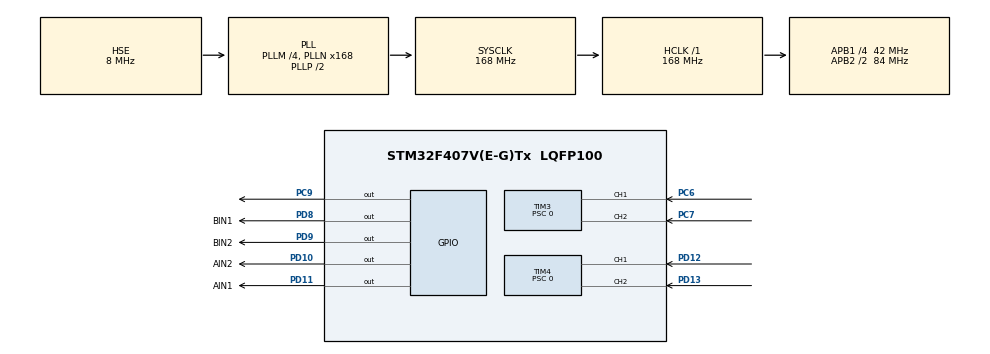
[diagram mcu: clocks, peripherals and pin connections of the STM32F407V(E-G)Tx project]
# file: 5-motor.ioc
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Mcu.Family=STM32F4
Mcu.Name=STM32F407V(E-G)Tx
Mcu.Package=LQFP100
NVIC.PriorityGroup=NVIC_PRIORITYGROUP_4
NVIC.TIM2_IRQn=true\:4\:0\:false\:false\:true\:true\:true\:true
NVIC.TIM6_DAC_IRQn=true\:5\:0\:false\:false\:true\:true\:true\:true
PA13.Mode=Serial_Wire
PA13.Signal=SYS_JTMS-SWDIO
PA14.Mode=Serial_Wire
PA14.Signal=SYS_JTCK-SWCLK
PC6.GPIO_PuPd=GPIO_PULLUP
PC6.Signal=S_TIM3_CH1
PC7.GPIO_PuPd=GPIO_PULLUP
PC7.Signal=S_TIM3_CH2
PC9.GPIO_PuPd=GPIO_NOPULL
PC9.Signal=GPIO_Output
PD10.GPIO_Label=AIN2
PD10.GPIO_PuPd=GPIO_PULLDOWN
PD10.GPIO_Speed=GPIO_SPEED_FREQ_MEDIUM
PD10.Signal=GPIO_Output
PD11.GPIO_Label=AIN1
PD11.GPIO_PuPd=GPIO_PULLDOWN
PD11.GPIO_Speed=GPIO_SPEED_FREQ_MEDIUM
PD11.Signal=GPIO_Output
PD12.GPIO_PuPd=GPIO_PULLUP
PD12.Signal=S_TIM4_CH1
PD13.GPIO_PuPd=GPIO_PULLUP
PD13.Signal=S_TIM4_CH2
PD8.GPIO_Label=BIN1
PD8.GPIO_PuPd=GPIO_PULLDOWN
PD8.GPIO_Speed=GPIO_SPEED_FREQ_MEDIUM
PD8.Signal=GPIO_Output
PD9.GPIO_Label=BIN2
PD9.GPIO_PuPd=GPIO_PULLDOWN
PD9.GPIO_Speed=GPIO_SPEED_FREQ_MEDIUM
PD9.Signal=GPIO_Output
PH0-OSC_IN.Mode=HSE-External-Oscillator
PH0-OSC_IN.Signal=RCC_OSC_IN
PH1-OSC_OUT.Mode=HSE-External-Oscillator
PH1-OSC_OUT.Signal=RCC_OSC_OUT
ProjectManager.HeapSize=0x200
ProjectManager.StackSize=0x400
ProjectManager.TargetToolchain=MDK-ARM V5.32
RCC.48MHZClocksFreq_Value=48000000
RCC.AHBFreq_Value=168000000
RCC.APB1CLKDivider=RCC_HCLK_DIV4
RCC.APB1Freq_Value=42000000
RCC.APB1TimFreq_Value=84000000
RCC.APB2CLKDivider=RCC_HCLK_DIV2
RCC.APB2Freq_Value=84000000
RCC.APB2TimFreq_Value=168000000
RCC.CortexFreq_Value=168000000
RCC.HCLKFreq_Value=168000000
RCC.HSE_VALUE=8000000
RCC.HSI_VALUE=16000000
RCC.LSE_VALUE=32768
RCC.PLLM=4
RCC.PLLN=168
RCC.PLLQ=7
RCC.PLLSourceVirtual=RCC_PLLSOURCE_HSE
RCC.RTCHSEDivValue=8
RCC.SYSCLKFreq_VALUE=168000000
RCC.SYSCLKSource=RCC_SYSCLKSOURCE_PLLCLK
RCC.VCOOutputFreq_Value=336000000
SH.S_TIM3_CH1.0=TIM3_CH1,Encoder_Interface
SH.S_TIM3_CH2.0=TIM3_CH2,Encoder_Interface
SH.S_TIM4_CH1.0=TIM4_CH1,Encoder_Interface
SH.S_TIM4_CH2.0=TIM4_CH2,Encoder_Interface
TIM2.Period=83999
TIM2.Prescaler=0
TIM3.EncoderMode=TIM_ENCODERMODE_TI12
TIM3.IC1Filter=6
TIM3.IC2Filter=6
TIM3.Period=65535
TIM3.Prescaler=0
TIM4.EncoderMode=TIM_ENCODERMODE_TI12
TIM4.IC1Filter=6
TIM4.IC2Filter=6
TIM4.Period=65535
TIM4.Prescaler=0
TIM5.Period=4294967295
TIM5.Prescaler=83
TIM6.Period=9999
TIM6.Prescaler=83
VP_TIM2_VS_ClockSourceINT.Mode=Internal
VP_TIM5_VS_ClockSourceINT.Mode=Internal
VP_TIM6_VS_ClockSourceINT.Mode=Enable_Timer
board=custom

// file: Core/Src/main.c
/* USER CODE BEGIN Header */
/**
  ******************************************************************************
  * @file           : main.c
  * @brief          : DRV8848 双电机编码器速度闭环示例
  ******************************************************************************
  * @attention
  *
  * Copyright (c) 2026 STMicroelectronics.
  * All rights reserved.
  *
  * This software is licensed under terms that can be found in the LICENSE file
  * in the root directory of this software component.
  * If no LICENSE file comes with this software, it is provided AS-IS.
  *
  ******************************************************************************
  */
/* USER CODE END Header */
#include "main.h"
#include "tim.h"
#include "gpio.h"

/* USER CODE BEGIN Includes */
#include "motor.h"
#include "motor_pwm.h"
/* USER CODE END Includes */

/* USER CODE BEGIN PD */
// 目标速度单位为 CPS（编码器四倍频计数/秒），负值表示反向
#define DEMO_A_TARGET_CPS     999.0f
#define DEMO_B_TARGET_CPS     1001.0f
/* USER CODE END PD */

/* USER CODE BEGIN PV */
motor_feedback_t motor_a_feedback;  // 只读反馈副本；修改这里不会设置电机目标
motor_feedback_t motor_b_feedback;  // 只读反馈副本；修改这里不会设置电机目标
/* USER CODE END PV */

void SystemClock_Config(void);

int main(void)
{

  /* MCU Configuration--------------------------------------------------------*/

  /* Reset of all peripherals, Initializes the Flash interface and the Systick. */
  HAL_Init();

  /* Configure the system clock */
  SystemClock_Config();

  /* Initialize all configured peripherals */
  MX_GPIO_Init();
  MX_TIM2_Init();
  MX_TIM3_Init();
  MX_TIM4_Init();
  MX_TIM5_Init();
  MX_TIM6_Init();
  /* USER CODE BEGIN 2 */
  if (motor_init() != HAL_OK)
  {
    Error_Handler();
  }

  /* 单位为编码器计数/秒；200 CPS = 平均每 10ms 计数 2 次。 */
  motor_set_target_cps(MOTOR_A, DEMO_A_TARGET_CPS);
  motor_set_target_cps(MOTOR_B, DEMO_B_TARGET_CPS);
  /* USER CODE END 2 */

  /* Infinite loop */
  while (1)
  {

    /* USER CODE BEGIN 3 */
    motor_get_feedback(MOTOR_A, &motor_a_feedback);
    motor_get_feedback(MOTOR_B, &motor_b_feedback);

    HAL_Delay(10);
  }
  /* USER CODE END 3 */
}

void SystemClock_Config(void)
{
  RCC_OscInitTypeDef RCC_OscInitStruct = {0};
  RCC_ClkInitTypeDef RCC_ClkInitStruct = {0};

  /** Configure the main internal regulator output voltage
  */
  __HAL_RCC_PWR_CLK_ENABLE();
  __HAL_PWR_VOLTAGESCALING_CONFIG(PWR_REGULATOR_VOLTAGE_SCALE1);

  /** Initializes the RCC Oscillators according to the specified parameters
  * in the RCC_OscInitTypeDef structure.
  */
  RCC_OscInitStruct.OscillatorType = RCC_OSCILLATORTYPE_HSE;
  RCC_OscInitStruct.HSEState = RCC_HSE_ON;
  RCC_OscInitStruct.PLL.PLLState = RCC_PLL_ON;
  RCC_OscInitStruct.PLL.PLLSource = RCC_PLLSOURCE_HSE;
  RCC_OscInitStruct.PLL.PLLM = 4;
  RCC_OscInitStruct.PLL.PLLN = 168;
  RCC_OscInitStruct.PLL.PLLP = RCC_PLLP_DIV2;
  RCC_OscInitStruct.PLL.PLLQ = 7;
  if (HAL_RCC_OscConfig(&RCC_OscInitStruct) != HAL_OK)
  {
    Error_Handler();
  }

  /** Initializes the CPU, AHB and APB buses clocks
  */
  RCC_ClkInitStruct.ClockType = RCC_CLOCKTYPE_HCLK|RCC_CLOCKTYPE_SYSCLK
                              |RCC_CLOCKTYPE_PCLK1|RCC_CLOCKTYPE_PCLK2;
  RCC_ClkInitStruct.SYSCLKSource = RCC_SYSCLKSOURCE_PLLCLK;
  RCC_ClkInitStruct.AHBCLKDivider = RCC_SYSCLK_DIV1;
  RCC_ClkInitStruct.APB1CLKDivider = RCC_HCLK_DIV4;
  RCC_ClkInitStruct.APB2CLKDivider = RCC_HCLK_DIV2;

  if (HAL_RCC_ClockConfig(&RCC_ClkInitStruct, FLASH_LATENCY_5) != HAL_OK)
  {
    Error_Handler();
  }
}

/* USER CODE BEGIN 4 */
/**
  * @brief  HAL 定时器周期回调，将 TIM6 的 10ms 节拍交给电机控制
  * @param  htim 触发周期事件的定时器句柄
  * @retval None
  * @note   HAL_TIM_IRQHandler() 自动调用；TIM2 使用独立的 GPIO PWM 中断入口。
  */
void HAL_TIM_PeriodElapsedCallback(TIM_HandleTypeDef *htim)
{
  if (htim->Instance == TIM6)
  {
    /* 读取编码器 -> 算速度 -> PID -> 更新 PWM。中断里不要用 HAL_Delay。 */
    motor_control_tick();
  }
}
/* USER CODE END 4 */

void Error_Handler(void)
{
  /* USER CODE BEGIN Error_Handler_Debug */
  __disable_irq();
  motor_pwm_emergency_stop();
  while (1)
  {
  }
  /* USER CODE END Error_Handler_Debug */
}
